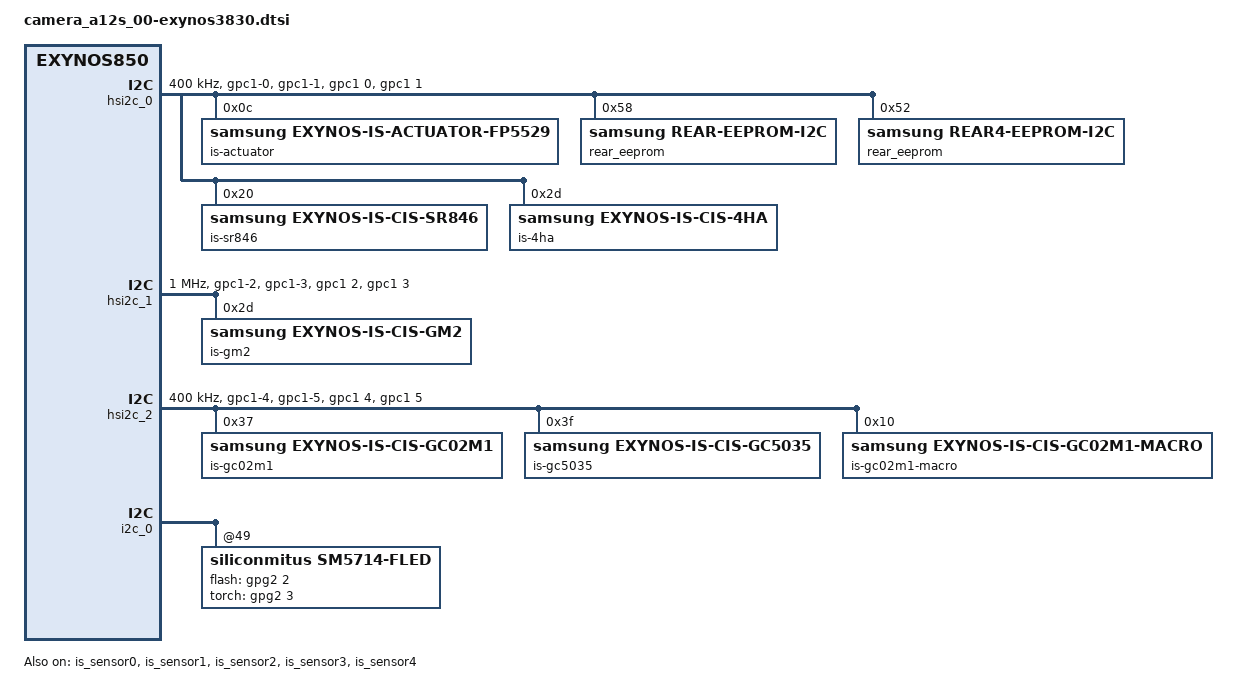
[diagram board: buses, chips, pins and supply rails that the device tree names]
/*
 * Samsung Exynos SoC series Pablo driver
 *
 * Copyright (c) 2020 Samsung Electronics Co., Ltd
 *
 * This program is free software; you can redistribute it and/or modify
 * it under the terms of the GNU General Public License version 2 as
 * published by the Free Software Foundation.
 */

#include <dt-bindings/camera/exynos_is_dt.h>
#include <dt-bindings/interrupt-controller/exynos3830.h>
#include <dt-bindings/clock/exynos3830.h>

#include "../camera/vendor_dt/a12s/is-vendor-sensor-pwr_aau_v12s_r00.h"
#include "../camera/vendor_dt/a12s/camera_a12s_common_exynos850.dtsi"
#include "../exynos_gpio_config_macros.dtsi"

/***** reference symbol node *****/
&exynos_is {

	pinctrl-names = "default","sleep";
	pinctrl-0 = <&cam_init_state>;
	pinctrl-1 = <&flash_off_state>;

	vender {
		rear_sensor_id = <61>; /* GM2 */
		front_sensor_id = <208>; /* SR846 */
		rear2_sensor_id = <214>; /* GC02M1 */
		rear3_sensor_id = <210>; /* GC5035 */
		rear4_sensor_id = <214>; /* GC02M1 */

		need_i2c_config;
		use_module_check;
		//skip_cal_loading;
		//check_sensor_vendor;

		/* for Factory Test */
		max_supported_camera = <6>;
		supported_cameraId = <0 1 23 50 52 54>;
		/* REAR, FRONT, DUAL_REAR_PORTRAIT_WIDE(Bokeh), REAR_2(UW), REAR_3(SUB), REAR_4(MACRO) */

		max_camera_num = <5>;
		camera_info0 {                 /* 0 : rear - GM2 */
			isp = <0>;             /* 0 : INT , 1 : EXT , 2 : SOC */
			cal_memory = <2>;      /* 0 : N , 1 : FROM , 2 : EEPROM , 3 : OTP  */
			read_version = <0>;    /* 0 : SYSFS , 1 : CAMON */
			core_voltage = <0>;    /* 0 : N , 1 : Y  */
			upgrade = <0>;         /* 0 : N , 1 : SYSFS , 2 : CAMON */
			fw_write = <0>;        /* 0 : N , 1 : OS, 2 : SD, 3 : ALL */
			fw_dump = <0>;         /* 0 : N , 1 : Y */
			companion = <0>;       /* 0 : N , 1 : Y  */
			ois = <0>;             /* 0 : N , 1 : Y  */
			valid = <1>;           /* 0 : INVALID, 1 : VALID */
			dual_open = <0>;       /* 0 : SINGLE_OPEN , 1 : DUAL_OPEN */
			position = <0>;        /* 0 : Rear, 1:Front, 2:Rear2, 3:Front2, 4:Rear3, 5:Front3, 6:Rear4*/
		};
		camera_info1 {                 /* 1 : front1 - SR846 */
			isp = <0>;             /* 0 : INT , 1 : EXT , 2 : SOC */
			cal_memory = <3>;      /* 0 : N , 1 : FROM , 2 : EEPROM , 3 : OTP  */
			read_version = <0>;    /* 0 : SYSFS , 1 : CAMON */
			core_voltage = <0>;    /* 0 : N , 1 : Y  */
			upgrade = <0>;         /* 0 : N , 1 : SYSFS , 2 : CAMON */
			fw_write = <0>;        /* 0 : N , 1 : OS, 2 : SD, 3 : ALL */
			fw_dump = <0>;         /* 0 : N , 1 : Y */
			companion = <0>;       /* 0 : N , 1 : Y  */
			ois = <0>;             /* 0 : N , 1 : Y  */
			valid = <1>;           /* 0 : INVALID, 1 : VALID */
			dual_open = <0>;       /* 0 : SINGLE_OPEN , 1 : DUAL_OPEN */
			position = <1>;        /* 0 : Rear, 1:Front, 2:Rear2, 3:Front2, 4:Rear3, 5:Front3, 6:Rear4*/
		};
		camera_info2 {                 /* 2 : rear2 - GC02M1 */
			isp = <0>;             /* 0 : INT , 1 : EXT , 2 : SOC */
			cal_memory = <3>;      /* 0 : N , 1 : FROM , 2 : EEPROM , 3 : OTP  */
			read_version = <0>;    /* 0 : SYSFS , 1 : CAMON */
			core_voltage = <0>;    /* 0 : N , 1 : Y  */
			upgrade = <0>;         /* 0 : N , 1 : SYSFS , 2 : CAMON */
			fw_write = <0>;        /* 0 : N , 1 : OS, 2 : SD, 3 : ALL */
			fw_dump = <0>;         /* 0 : N , 1 : Y */
			companion = <0>;       /* 0 : N , 1 : Y  */
			ois = <0>;             /* 0 : N , 1 : Y  */
			valid = <1>;           /* 0 : INVALID, 1 : VALID */
			dual_open = <1>;       /* 0 : SINGLE_OPEN , 1 : DUAL_OPEN */
			position = <2>;        /* 0 : Rear, 1:Front, 2:Rear2, 3:Front2, 4:Rear3, 5:Front3, 6:Rear4*/
		};
		camera_info3 {                 /* 3 : rear3 - GC5035 */
			isp = <0>;             /* 0 : INT , 1 : EXT , 2 : SOC */
			cal_memory = <3>;      /* 0 : N , 1 : FROM , 2 : EEPROM , 3 : OTP  */
			read_version = <0>;    /* 0 : SYSFS , 1 : CAMON */
			core_voltage = <0>;    /* 0 : N , 1 : Y  */
			upgrade = <0>;         /* 0 : N , 1 : SYSFS , 2 : CAMON */
			fw_write = <0>;        /* 0 : N , 1 : OS, 2 : SD, 3 : ALL */
			fw_dump = <0>;         /* 0 : N , 1 : Y */
			companion = <0>;       /* 0 : N , 1 : Y  */
			ois = <0>;             /* 0 : N , 1 : Y  */
			valid = <1>;           /* 0 : INVALID, 1 : VALID */
			dual_open = <0>;       /* 0 : SINGLE_OPEN , 1 : DUAL_OPEN */
			position = <4>;        /* 0 : Rear, 1:Front, 2:Rear2, 3:Front2, 4:Rear3, 5:Front3, 6:Rear4*/
		};
		camera_info4 {                 /* 4 : rear4 - GC02M1 */
			isp = <0>;             /* 0 : INT , 1 : EXT , 2 : SOC */
			cal_memory = <2>;      /* 0 : N , 1 : FROM , 2 : EEPROM , 3 : OTP  */
			read_version = <0>;    /* 0 : SYSFS , 1 : CAMON */
			core_voltage = <0>;    /* 0 : N , 1 : Y  */
			upgrade = <0>;         /* 0 : N , 1 : SYSFS , 2 : CAMON */
			fw_write = <0>;        /* 0 : N , 1 : OS, 2 : SD, 3 : ALL */
			fw_dump = <0>;         /* 0 : N , 1 : Y */
			companion = <0>;       /* 0 : N , 1 : Y  */
			ois = <0>;             /* 0 : N , 1 : Y  */
			valid = <1>;           /* 0 : INVALID, 1 : VALID */
			dual_open = <0>;       /* 0 : SINGLE_OPEN , 1 : DUAL_OPEN */
			position = <6>;        /* 0 : Rear, 1:Front, 2:Rear2, 3:Front2, 4:Rear3, 5:Front3, 6:Rear4*/
		};
	};
};

&i2c_5 {
	/* Overwrite not used I2C_5 pins */
	/delete-property/ pinctrl-0;
	pinctrl-0 = <>;
};

&pinctrl_0 {
	cam_init_state: cam_init_state {
			samsung,pins = "gpa3-5", "gpa3-6";
			samsung,pin-function = <1>;
			samsung,pin-pud = <0>;
			samsung,pin-val = <0>;
	};
};

&pinctrl_5 {
	/* FRONT */
	/* No pull-up resistor, use internal one */
	hsi2c_0_bus: hsi2c_0-bus {
		samsung,pins = "gpc1-0", "gpc1-1";
		samsung,pin-function = <2>;
		samsung,pin-pud = <0>;
		samsung,pin-drv = <0>;
	};

	hsi2c_0_bus_in: hsi2c_0-bus-in {
		samsung,pins = "gpc1-0", "gpc1-1";
		samsung,pin-function = <3>;
		samsung,pin-pud = <0>;
		samsung,pin-drv = <0>;
	};

	/* REAR */
	/* No pull-up resistor, use internal one */
	hsi2c_1_bus: hsi2c_1-bus {
		samsung,pins = "gpc1-2", "gpc1-3";
		samsung,pin-function = <2>;
		samsung,pin-pud = <0>;
		samsung,pin-drv = <0>;
	};

	hsi2c_1_bus_in: hsi2c_1-bus-in {
		samsung,pins = "gpc1-2", "gpc1-3";
		samsung,pin-function = <3>;
		samsung,pin-pud = <0>;
		samsung,pin-drv = <0>;
	};

	/* REAR2 */
	/* No pull-up resistor, use internal one */
	hsi2c_2_bus: hsi2c_2-bus {
		samsung,pins = "gpc1-4", "gpc1-5";
		samsung,pin-function = <2>;
		samsung,pin-pud = <0>;
		samsung,pin-drv = <0>;
	};

	hsi2c_2_bus_in: hsi2c_2-bus-in {
		samsung,pins = "gpc1-4", "gpc1-5";
		samsung,pin-function = <3>;
		samsung,pin-pud = <0>;
		samsung,pin-drv = <0>;
	};

	/* rear EEPROM, Actuator */
	i2c_4_bus: i2c_4-bus {
		samsung,pins = "gpp1-2", "gpp1-3";
		samsung,pin-function = <2>;
		samsung,pin-pud = <0>;
		samsung,pin-drv = <0>;
	};

	i2c_4_bus_in: i2c_4-bus-in {
		samsung,pins = "gpp1-2", "gpp1-3";
		samsung,pin-function = <3>;
		samsung,pin-pud = <0>;
		samsung,pin-drv = <0>;
	};

	flash_off_state: flash_off_state {
		samsung,pins = "gpg2-3";
		samsung,pin-con-pdn = <PIN_PDN_PREV>;
		samsung,pin-pud-pdn = <PIN_PULL_NONE>;
	};
};

&hsi2c_0 {
	#address-cells = <1>;
	#size-cells = <0>;
	gpios = <&gpc1 0 0 &gpc1 1 0>;
	status = "okay";
	clock-frequency = <400000>;
	samsung,reset-before-trans;

	pinctrl-names = "default","on_i2c","off_i2c";
	pinctrl-0 = <&hsi2c_0_bus_in>;
	pinctrl-1 = <&hsi2c_0_bus>;
	pinctrl-2 = <&hsi2c_0_bus_in>;

	is-actuator@18 {
		compatible = "samsung,exynos-is-actuator-fp5529";
		reg = <0x0C>;
		id = <0>; /* matching is_sensor id */
		place = <0>;
	};

	rear_eeprom@B0 {
		compatible = "samsung,rear-eeprom-i2c";
		reg = <0x58>;			/* 7bit-addr */
	};

	rear_eeprom@A4 {
		compatible = "samsung,rear4-eeprom-i2c";
		reg = <0x52>;			/* 7bit-addr */
	};

	is-sr846@40 {
		compatible = "samsung,exynos-is-cis-sr846";
		reg = <0x20>;
		id = <1>; /* matching sensor id */
		sensor_f_number = <220>; /* f number 2.2 */
		setfile = "setB";
		gpio_reset = SR846_RST;
		use_sensor_otp;
		rom_position = <1>;
		use_initial_ae;
	};

	is-4ha@5A {
		compatible = "samsung,exynos-is-cis-4ha";
		reg = <0x2D>;
		id = <1>; /* matching sensor id */
		sensor_f_number = <220>; /* f number 2.2 */
		setfile = "setB";
		gpio_reset = S5K4HA_RST;
		use_sensor_otp;
		dualized_sensor;
		rom_position = <1>;
		use_initial_ae;
	};
};

&hsi2c_1 {
	#address-cells = <1>;
	#size-cells = <0>;
	gpios = <&gpc1 2 0 &gpc1 3 0>;
	status = "okay";
	clock-frequency = <1000000>;
	samsung,reset-before-trans;
	samsung,fast-plus-mode;

	pinctrl-names = "default","on_i2c","off_i2c";
	pinctrl-0 = <&hsi2c_1_bus_in>;
	pinctrl-1 = <&hsi2c_1_bus>;
	pinctrl-2 = <&hsi2c_1_bus_in>;


	is-gm2@5A {
		compatible = "samsung,exynos-is-cis-gm2";
		reg = <0x2D>;
		id = <0>; /* matching sensor id */
		sensor_f_number = <200>; /* f number 2.0 */
		setfile = "setB";
	};
};

&hsi2c_2 {
	#address-cells = <1>;
	#size-cells = <0>;
	gpios = <&gpc1 4 0 &gpc1 5 0>;
	status = "okay";
	clock-frequency = <400000>;
	samsung,reset-before-trans;

	pinctrl-names = "default","on_i2c","off_i2c";
	pinctrl-0 = <&hsi2c_2_bus_in>;
	pinctrl-1 = <&hsi2c_2_bus>;
	pinctrl-2 = <&hsi2c_2_bus_in>;

	is-gc02m1@6E {
		compatible = "samsung,exynos-is-cis-gc02m1";
		reg = <0x37>;
		id = <2>; /* matching sensor id */
		sensor_f_number = <240>; /* f number 2.4 */
		setfile = "setB";
		use_sensor_otp;
		rom_position = <2>;
	};

	is-gc5035@7E {
		compatible = "samsung,exynos-is-cis-gc5035";
		reg = <0x3F>;
		id = <3>; /* matching sensor id */
		sensor_f_number = <220>; /* f number 2.2 */
		setfile = "setB";
		use_sensor_otp;
		rom_position = <4>;
	};

	is-gc02m1-macro@A4 {
		compatible = "samsung,exynos-is-cis-gc02m1-macro";
		reg = <0x10>;
		id = <4>; /* matching sensor id */
		sensor_f_number = <240>; /* f number 2.4 */
		setfile = "setB";
	};
};

&is_sensor0 {
	#address-cells = <1>;
	#size-cells = <1>;
	scenario = <SENSOR_SCENARIO_NORMAL>;	/* Normal, Vision, OIS etc */
	id = <0>;
	csi_ch = <1>;
	dma_ch = <0 0 0 0>;
	vc_ch = <0 1 2 3>;
	flite_ch = <FLITE_ID_NOTHING>;
	use_ssvc1_internal;
	is_bns = <0>;
	csi_mux = <0x21>;	/* IPP_INPUT = (ipp1_in << 4 | ipp0_in) = (CSI_ID_C << 4 | CSI_ID_B) */
	status = "okay";
	reg = <0x0 0x14410000 0x1000>, /* MIPI-CSI1 */
		<0x0 0x144A0000 0x10000>; /* PHY: m0s4s4s2 */
	reg-names = "csi", "phy";
	interrupts = <0 INTREQ__CSIS1 IRQ_TYPE_LEVEL_HIGH>, /* MIPI-CSI1 */
			<0 INTREQ__CSIS_DMA_0 IRQ_TYPE_LEVEL_HIGH>,
			<0 INTREQ__CSIS_DMA_0 IRQ_TYPE_LEVEL_HIGH>,
			<0 INTREQ__CSIS_DMA_0 IRQ_TYPE_LEVEL_HIGH>,
			<0 INTREQ__CSIS_DMA_0 IRQ_TYPE_LEVEL_HIGH>;
	interrupt-names = "csi",
			"mode0_VC0", "mode0_VC1", "mode0_VC2", "mode0_VC3";
	phys = <&mipi_phy_csis1_m0s4s4s2 0>;
	phy-names = "csis_dphy";

	/* without PAF HW */
	sensor0_ch_mode0: sensor0-ch-mode0 {
		reg = <0x14431000 0x100>, /* DMA0 VC0 */
			<0x14431400 0x100>, /* DMA0 Common */
			<0x14431100 0x100>, /* DMA0 VC1 */
			<0x14431400 0x100>, /* DMA0 Common */
			<0x14431200 0x100>, /* DMA0 VC2 */
			<0x14431400 0x100>, /* DMA0 Common */
			<0x14431300 0x100>, /* DMA0 VC3 */
			<0x14431400 0x100>; /* DMA0 Common */
	};
};

&is_sensor1 {
	#address-cells = <1>;
	#size-cells = <1>;
	scenario = <SENSOR_SCENARIO_NORMAL>;    /* Normal, Vision, OIS etc */
	id = <1>;
	csi_ch = <0>;
	dma_ch = <1 1 1 1>;
	vc_ch = <0 1 2 3>;
	flite_ch = <FLITE_ID_NOTHING>;
	is_bns = <0>;
	csi_mux = <0x1>;	/* IPP_INPUT = (ipp1_in << 4 | ipp0_in) = (CSI_ID_A << 4 | CSI_ID_B) */
	status = "okay";

	reg = <0x0 0x14400000 0x1000>, /* MIPI-CSI0 */
		<0x0 0x14490000 0x10000>; /* PHY: m0s4s4s2 */
	reg-names = "csi", "phy";
	interrupts = <0 INTREQ__CSIS0 IRQ_TYPE_LEVEL_HIGH>, /*MIPI-CSI0 */
		<0 INTREQ__CSIS_DMA_1 IRQ_TYPE_LEVEL_HIGH>,
		<0 INTREQ__CSIS_DMA_1 IRQ_TYPE_LEVEL_HIGH>,
		<0 INTREQ__CSIS_DMA_1 IRQ_TYPE_LEVEL_HIGH>,
		<0 INTREQ__CSIS_DMA_1 IRQ_TYPE_LEVEL_HIGH>;
	interrupt-names = "csi",
		"mode0_VC0", "mode0_VC1", "mode0_VC2", "mode0_VC3";
	phys = <&mipi_phy_csis0_m0s4s4s2 0>;
	phy-names = "csis_dphy";

	/* without PAF HW */
	sensor1_ch_mode0: sensor1-ch-mode0 {
		reg = <0x14432000 0x100>, /* DMA1 VC0 */
			<0x14432400 0x100>, /* DMA1 Common */
			<0x14432100 0x100>, /* DMA1 VC1 */
			<0x14432400 0x100>, /* DMA1 Common */
			<0x14432200 0x100>, /* DMA1 VC2 */
			<0x14432400 0x100>, /* DMA1 Common */
			<0x14432300 0x100>, /* DMA1 VC3 */
			<0x14432400 0x100>; /* DMA1 Common */
	};
};

&is_sensor2 {
	#address-cells = <1>;
	#size-cells = <1>;
	scenario = <SENSOR_SCENARIO_NORMAL>;    /* Normal, Vision, OIS etc */
	id = <2>;
	csi_ch = <2>;
	dma_ch = <1 1 1 1>;
	vc_ch = <0 1 2 3>;
	flite_ch = <FLITE_ID_NOTHING>;
	is_bns = <0>;
	csi_mux = <0x21>;	/* IPP_INPUT = (ipp1_in << 4 | ipp0_in) = (CSI_ID_C << 4 | CSI_ID_B) */
	status = "okay";

	interrupts = <0 INTREQ__CSIS2 IRQ_TYPE_LEVEL_HIGH>, /* MIPI-CSI1 */
			<0 INTREQ__CSIS_DMA_1 IRQ_TYPE_LEVEL_HIGH>,
			<0 INTREQ__CSIS_DMA_1 IRQ_TYPE_LEVEL_HIGH>,
			<0 INTREQ__CSIS_DMA_1 IRQ_TYPE_LEVEL_HIGH>,
			<0 INTREQ__CSIS_DMA_1 IRQ_TYPE_LEVEL_HIGH>;
	interrupt-names = "csi",
			"mode0_VC0", "mode0_VC1", "mode0_VC2", "mode0_VC3";

	/* without PAF HW */
	sensor2_ch_mode0: sensor2-ch-mode0 {
		reg = <0x14432000 0x100>, /* DMA1 VC0 */
			<0x14432400 0x100>, /* DMA1 Common */
			<0x14432100 0x100>, /* DMA1 VC1 */
			<0x14432400 0x100>, /* DMA1 Common */
			<0x14432200 0x100>, /* DMA1 VC2 */
			<0x14432400 0x100>, /* DMA1 Common */
			<0x14432300 0x100>, /* DMA1 VC3 */
			<0x14432400 0x100>; /* DMA1 Common */
	};
};

&is_sensor3 {
	#address-cells = <1>;
	#size-cells = <1>;
	scenario = <SENSOR_SCENARIO_NORMAL>;    /* Normal, Vision, OIS etc */
	id = <3>;
	csi_ch = <0>;
	dma_ch = <0 0 0 0>;
	vc_ch = <0 1 2 3>;
	flite_ch = <FLITE_ID_NOTHING>;
	is_bns = <0>;
	csi_mux = <0x10>;	/* IPP_INPUT = (ipp1_in << 4 | ipp0_in) = (CSI_ID_B << 4 | CSI_ID_A) */
	status = "okay";
};

&is_sensor4 {
	#address-cells = <1>;
	#size-cells = <1>;
	scenario = <SENSOR_SCENARIO_NORMAL>;    /* Normal, Vision, OIS etc */
	id = <4>;
	csi_ch = <2>;
	dma_ch = <0 0 0 0>;
	vc_ch = <0 1 2 3>;
	flite_ch = <FLITE_ID_NOTHING>;
	is_bns = <0>;
	csi_mux = <0x2>;	/* IPP_INPUT = (ipp1_in << 4 | ipp0_in) = (CSI_ID_A << 4 | CSI_ID_C) */
	status = "okay";

	interrupts = <0 INTREQ__CSIS2 IRQ_TYPE_LEVEL_HIGH>, /* MIPI-CSI2 */
			<0 INTREQ__CSIS_DMA_0 IRQ_TYPE_LEVEL_HIGH>,
			<0 INTREQ__CSIS_DMA_0 IRQ_TYPE_LEVEL_HIGH>,
			<0 INTREQ__CSIS_DMA_0 IRQ_TYPE_LEVEL_HIGH>,
			<0 INTREQ__CSIS_DMA_0 IRQ_TYPE_LEVEL_HIGH>;
	interrupt-names = "csi",
			"mode0_VC0", "mode0_VC1", "mode0_VC2", "mode0_VC3";

	/* without PAF HW */
	sensor4_ch_mode0: sensor4-ch-mode0 {
		reg = <0x14431000 0x100>, /* DMA0 VC0 */
			<0x14431400 0x100>, /* DMA0 Common */
			<0x14431100 0x100>, /* DMA0 VC1 */
			<0x14431400 0x100>, /* DMA0 Common */
			<0x14431200 0x100>, /* DMA0 VC2 */
			<0x14431400 0x100>, /* DMA0 Common */
			<0x14431300 0x100>, /* DMA0 VC3 */
			<0x14431400 0x100>; /* DMA0 Common */
	};
};

/* FLASH-LED : leds-sm5714 */
&i2c_0{
	sm5714-fled@49 {
		compatible = "siliconmitus,sm5714-fled";
		status = "okay";
		flash-gpio = <&gpg2 2 0>;
		torch-gpio = <&gpg2 3 0>;
		flash-brightness = <0xA>; /* 0x0(300mA), 0x1(700mA), 0x2(800mA), 0x3(900mA) ~ 0xF(1500mA) : 50mA Step */
		preflash-brightness = <0x4>;
		torch-brightness = <0x4>; /*0x0(50mA) ~ 0x7(225mA) : 25mA Step */
		torch-brightness-levels = <0 1 2 5 7>;
		timeout = <0xff>;
	};
};
